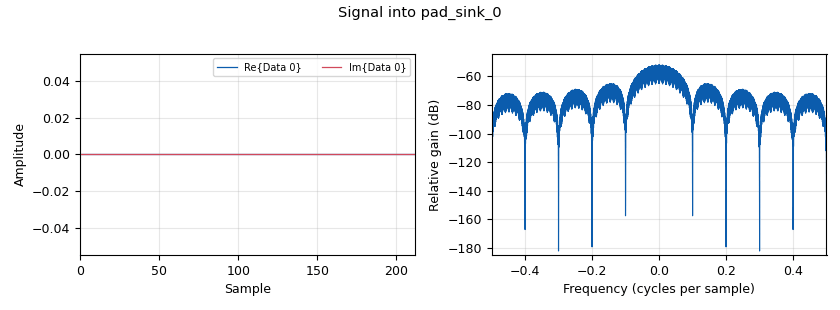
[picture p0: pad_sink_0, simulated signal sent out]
options:
  parameters:
    description: Generate pulse waveforms
    generate_options: hb
    id: pulses
    output_language: python
    title: Pulse Generator
  states: {}

blocks:
- name: off_samples
  id: variable
  parameters:
    value: (0,)*off_samps
  states: {}
- name: off_samps
  id: variable
  parameters:
    value: int(samp_rate*(pri-pulse_width))
  states: {}
- name: on_samples
  id: variable
  parameters:
    value: (a,)*on_samps
  states: {}
- name: on_samps
  id: variable
  parameters:
    value: int(samp_rate*pulse_width)
  states: {}
- name: pulse_samples
  id: variable
  parameters:
    value: on_samples+off_samples
  states: {}
- name: a
  id: parameter
  parameters:
    label: Amplitude
    type: eng_float
    value: '0.7'
  states: {}
- name: blocks_vector_source_x_0
  id: blocks_vector_source_x
  parameters:
    repeat: 'True'
    type: complex
    vector: pulse_samples
  states: {}
- name: pad_sink_0
  id: pad_sink
  parameters:
    label: out
    type: complex
  states: {}
- name: pri
  id: parameter
  parameters:
    label: Pulse Repitition Interval (PRI)
    type: eng_float
    value: '100e-6'
  states: {}
- name: pulse_width
  id: parameter
  parameters:
    label: Pulse Width (s)
    type: eng_float
    value: '1e-6'
  states: {}
- name: samp_rate
  id: parameter
  parameters:
    label: Sample Rate
    type: eng_float
    value: 10e6
  states: {}

connections:
- [blocks_vector_source_x_0, '0', pad_sink_0, '0']

metadata:
  file_format: 1
